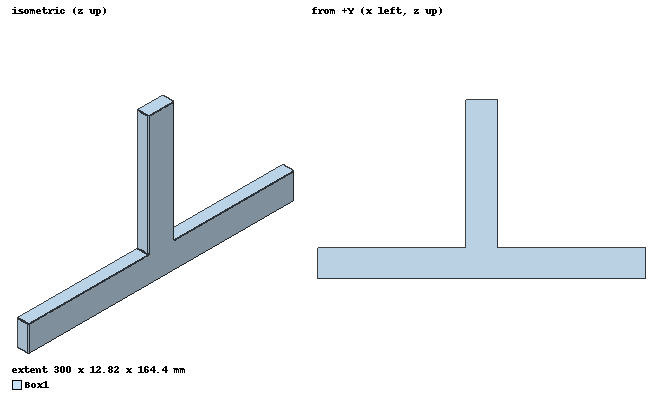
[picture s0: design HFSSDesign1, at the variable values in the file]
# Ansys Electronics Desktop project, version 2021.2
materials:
  vacuum: permittivity=1

design HFSSDesign1 (HFSS, DrivenModal, model units mm)
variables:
  a = 28.8461mm
  b = 12.8204mm
  L = 150mm
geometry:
  Box1 [vacuum] = box(corner=(-a/2, -b/2, 0mm), size=(a, b, L))
  Box1_1 = Box1.duplicate_around_axis(axis=Y, angle=90deg, total=2)
  Box1_2 = Box1.duplicate_around_axis(axis=Y, angle=-90deg, total=2)
  Box1.unite(Box1_1, Box1_2)
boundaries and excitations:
  1: Wave Port Faces=Box1.face(1 of 6) NumModes=1 Modes{Mode1{IntLine{middle of Box1.edge(2 of 12) -> middle of Box1.edge(4 of 12)} CharImp=Zpi}}
  2: Wave Port Faces=Box1.face(1 of 6) NumModes=1 Modes{Mode1{IntLine{middle of Box1.edge(2 of 12) -> middle of Box1.edge(4 of 12)} CharImp=Zpi}}
  3: Wave Port Faces=Box1.face(+z) NumModes=1 Modes{Mode1{IntLine{middle of Box1.edge(2 of 12) -> middle of Box1.edge(4 of 12)} CharImp=Zpi}}
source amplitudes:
  1:1, 2:1: 0W 0deg
  3:1: 1W 0deg
